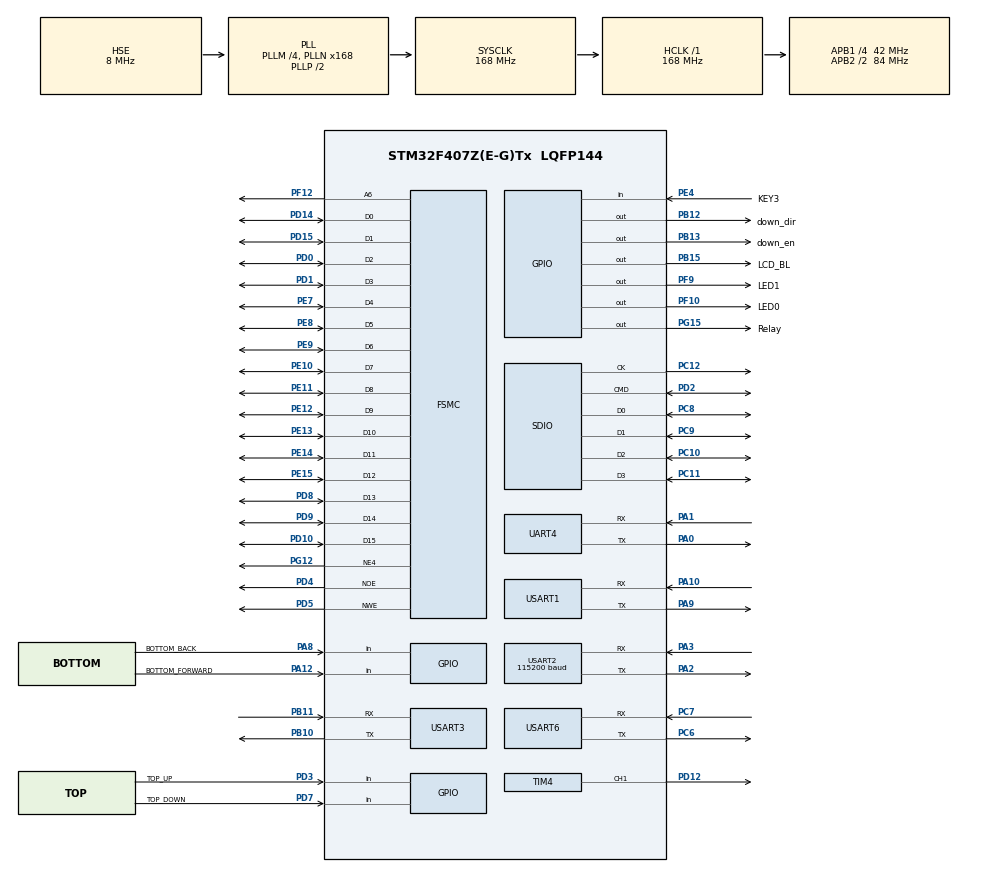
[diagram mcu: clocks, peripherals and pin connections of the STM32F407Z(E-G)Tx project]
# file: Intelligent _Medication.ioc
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Dma.Request0=SDIO_RX
Dma.Request1=USART6_RX
Dma.Request2=USART3_RX
Dma.Request3=USART2_RX
Dma.Request4=UART4_RX
Dma.Request5=SDIO_TX
Dma.SDIO_RX.0.Direction=DMA_PERIPH_TO_MEMORY
Dma.SDIO_RX.0.FIFOMode=DMA_FIFOMODE_ENABLE
Dma.SDIO_RX.0.FIFOThreshold=DMA_FIFO_THRESHOLD_FULL
Dma.SDIO_RX.0.Instance=DMA2_Stream3
Dma.SDIO_RX.0.MemBurst=DMA_MBURST_INC4
Dma.SDIO_RX.0.MemDataAlignment=DMA_MDATAALIGN_WORD
Dma.SDIO_RX.0.MemInc=DMA_MINC_ENABLE
Dma.SDIO_RX.0.Mode=DMA_PFCTRL
Dma.SDIO_RX.0.PeriphBurst=DMA_PBURST_INC4
Dma.SDIO_RX.0.PeriphDataAlignment=DMA_PDATAALIGN_WORD
Dma.SDIO_RX.0.PeriphInc=DMA_PINC_DISABLE
Dma.SDIO_RX.0.Priority=DMA_PRIORITY_LOW
Dma.SDIO_TX.5.Direction=DMA_MEMORY_TO_PERIPH
Dma.SDIO_TX.5.FIFOMode=DMA_FIFOMODE_ENABLE
Dma.SDIO_TX.5.FIFOThreshold=DMA_FIFO_THRESHOLD_FULL
Dma.SDIO_TX.5.Instance=DMA2_Stream6
Dma.SDIO_TX.5.MemBurst=DMA_MBURST_INC4
Dma.SDIO_TX.5.MemDataAlignment=DMA_MDATAALIGN_WORD
Dma.SDIO_TX.5.MemInc=DMA_MINC_ENABLE
Dma.SDIO_TX.5.Mode=DMA_PFCTRL
Dma.SDIO_TX.5.PeriphBurst=DMA_PBURST_INC4
Dma.SDIO_TX.5.PeriphDataAlignment=DMA_PDATAALIGN_WORD
Dma.SDIO_TX.5.PeriphInc=DMA_PINC_DISABLE
Dma.SDIO_TX.5.Priority=DMA_PRIORITY_LOW
Dma.UART4_RX.4.Direction=DMA_PERIPH_TO_MEMORY
Dma.UART4_RX.4.FIFOMode=DMA_FIFOMODE_DISABLE
Dma.UART4_RX.4.Instance=DMA1_Stream2
Dma.UART4_RX.4.MemDataAlignment=DMA_MDATAALIGN_BYTE
Dma.UART4_RX.4.MemInc=DMA_MINC_ENABLE
Dma.UART4_RX.4.Mode=DMA_NORMAL
Dma.UART4_RX.4.PeriphDataAlignment=DMA_PDATAALIGN_BYTE
Dma.UART4_RX.4.PeriphInc=DMA_PINC_DISABLE
Dma.UART4_RX.4.Priority=DMA_PRIORITY_LOW
Dma.USART2_RX.3.Direction=DMA_PERIPH_TO_MEMORY
Dma.USART2_RX.3.FIFOMode=DMA_FIFOMODE_DISABLE
Dma.USART2_RX.3.Instance=DMA1_Stream5
Dma.USART2_RX.3.MemDataAlignment=DMA_MDATAALIGN_BYTE
Dma.USART2_RX.3.MemInc=DMA_MINC_ENABLE
Dma.USART2_RX.3.Mode=DMA_NORMAL
Dma.USART2_RX.3.PeriphDataAlignment=DMA_PDATAALIGN_BYTE
Dma.USART2_RX.3.PeriphInc=DMA_PINC_DISABLE
Dma.USART2_RX.3.Priority=DMA_PRIORITY_HIGH
Dma.USART3_RX.2.Direction=DMA_PERIPH_TO_MEMORY
Dma.USART3_RX.2.FIFOMode=DMA_FIFOMODE_DISABLE
Dma.USART3_RX.2.Instance=DMA1_Stream1
Dma.USART3_RX.2.MemDataAlignment=DMA_MDATAALIGN_BYTE
Dma.USART3_RX.2.MemInc=DMA_MINC_ENABLE
Dma.USART3_RX.2.Mode=DMA_NORMAL
Dma.USART3_RX.2.PeriphDataAlignment=DMA_PDATAALIGN_BYTE
Dma.USART3_RX.2.PeriphInc=DMA_PINC_DISABLE
Dma.USART3_RX.2.Priority=DMA_PRIORITY_MEDIUM
Dma.USART6_RX.1.Direction=DMA_PERIPH_TO_MEMORY
Dma.USART6_RX.1.FIFOMode=DMA_FIFOMODE_DISABLE
Dma.USART6_RX.1.Instance=DMA2_Stream1
Dma.USART6_RX.1.MemDataAlignment=DMA_MDATAALIGN_BYTE
Dma.USART6_RX.1.MemInc=DMA_MINC_ENABLE
Dma.USART6_RX.1.Mode=DMA_NORMAL
Dma.USART6_RX.1.PeriphDataAlignment=DMA_PDATAALIGN_BYTE
Dma.USART6_RX.1.PeriphInc=DMA_PINC_DISABLE
Dma.USART6_RX.1.Priority=DMA_PRIORITY_LOW
FATFS._CODE_PAGE=850
FATFS._USE_LFN=0
FATFS._USE_MUTEX=0
FREERTOS.HEAP_NUMBER=4
FREERTOS.INCLUDE_eTaskGetState=1
FREERTOS.INCLUDE_pcTaskGetTaskName=0
FREERTOS.INCLUDE_uxTaskGetStackHighWaterMark=1
FREERTOS.INCLUDE_uxTaskGetStackHighWaterMark2=0
FREERTOS.INCLUDE_uxTaskPriorityGet=1
FREERTOS.INCLUDE_vTaskCleanUpResources=0
FREERTOS.INCLUDE_vTaskDelay=1
FREERTOS.INCLUDE_vTaskDelayUntil=1
FREERTOS.INCLUDE_vTaskDelete=1
FREERTOS.INCLUDE_vTaskPrioritySet=1
FREERTOS.INCLUDE_vTaskSuspend=1
FREERTOS.INCLUDE_xEventGroupSetBitFromISR=0
FREERTOS.INCLUDE_xQueueGetMutexHolder=1
FREERTOS.INCLUDE_xSemaphoreGetMutexHolder=0
FREERTOS.INCLUDE_xTaskAbortDelay=0
FREERTOS.INCLUDE_xTaskGetCurrentTaskHandle=1
FREERTOS.INCLUDE_xTaskGetHandle=0
FREERTOS.INCLUDE_xTaskGetSchedulerState=1
FREERTOS.INCLUDE_xTaskResumeFromISR=1
FREERTOS.INCLUDE_xTimerPendFunctionCall=1
FREERTOS.Tasks01=defaultTask,8,128,StartDefaultTask,Default,NULL,Dynamic,NULL,NULL
FREERTOS.configCHECK_FOR_STACK_OVERFLOW=0
FREERTOS.configENABLE_BACKWARD_COMPATIBILITY=1
FREERTOS.configENABLE_FPU=0
FREERTOS.configGENERATE_RUN_TIME_STATS=0
FREERTOS.configIDLE_SHOULD_YIELD=1
FREERTOS.configLIBRARY_LOWEST_INTERRUPT_PRIORITY=15
FREERTOS.configLIBRARY_MAX_SYSCALL_INTERRUPT_PRIORITY=5
FREERTOS.configMAX_CO_ROUTINE_PRIORITIES=2
FREERTOS.configMAX_TASK_NAME_LEN=16
FREERTOS.configMINIMAL_STACK_SIZE=128
FREERTOS.configQUEUE_REGISTRY_SIZE=8
FREERTOS.configRECORD_STACK_HIGH_ADDRESS=0
FREERTOS.configTICK_RATE_HZ=1000
FREERTOS.configTIMER_QUEUE_LENGTH=10
FREERTOS.configTIMER_TASK_PRIORITY=2
FREERTOS.configTIMER_TASK_STACK_DEPTH=256
FREERTOS.configTOTAL_HEAP_SIZE=15360
FREERTOS.configUSE_APPLICATION_TASK_TAG=0
FREERTOS.configUSE_COUNTING_SEMAPHORES=1
FREERTOS.configUSE_CO_ROUTINES=0
FREERTOS.configUSE_DAEMON_TASK_STARTUP_HOOK=0
FREERTOS.configUSE_IDLE_HOOK=0
FREERTOS.configUSE_MALLOC_FAILED_HOOK=0
FREERTOS.configUSE_MUTEXES=1
FREERTOS.configUSE_NEWLIB_REENTRANT=0
FREERTOS.configUSE_OS2_EVENTFLAGS_FROM_ISR=1
FREERTOS.configUSE_OS2_MUTEX=1
FREERTOS.configUSE_OS2_THREAD_ENUMERATE=1
FREERTOS.configUSE_OS2_THREAD_FLAGS=1
FREERTOS.configUSE_OS2_THREAD_SUSPEND_RESUME=1
FREERTOS.configUSE_OS2_TIMER=1
FREERTOS.configUSE_POSIX_ERRNO=0
FREERTOS.configUSE_PREEMPTION=1
FREERTOS.configUSE_RECURSIVE_MUTEXES=1
FREERTOS.configUSE_STATS_FORMATTING_FUNCTIONS=0
FREERTOS.configUSE_TASK_NOTIFICATIONS=1
FREERTOS.configUSE_TICKLESS_IDLE=0
FREERTOS.configUSE_TICK_HOOK=1
FREERTOS.configUSE_TRACE_FACILITY=1
FREERTOS.copyHeapFile=1
FSMC.AccessMode1=FSMC_ACCESS_MODE_A
FSMC.AddressSetupTime1=10
FSMC.BusTurnAroundDuration1=0
FSMC.DataSetupTime1=60
FSMC.ExtendedAccessMode1=FSMC_ACCESS_MODE_A
FSMC.ExtendedAddressSetupTime1=10
FSMC.ExtendedBusTurnAroundDuration1=0
FSMC.ExtendedDataSetupTime1=15
FSMC.ExtendedMode1=FSMC_EXTENDED_MODE_ENABLE
FSMC.NSBank1=FSMC_NORSRAM_BANK4
FSMC.WriteOperation1=FSMC_WRITE_OPERATION_ENABLE
Mcu.Family=STM32F4
Mcu.Name=STM32F407Z(E-G)Tx
Mcu.Package=LQFP144
NVIC.DMA1_Stream1_IRQn=true\:7\:0\:true\:false\:true\:true\:false\:true\:true
NVIC.DMA1_Stream2_IRQn=true\:6\:0\:true\:false\:true\:true\:false\:true\:true
NVIC.DMA1_Stream5_IRQn=true\:5\:0\:false\:false\:true\:true\:false\:true\:true
NVIC.DMA2_Stream1_IRQn=true\:5\:0\:false\:false\:true\:true\:false\:true\:true
NVIC.DMA2_Stream3_IRQn=true\:8\:0\:true\:false\:true\:true\:false\:true\:true
NVIC.DMA2_Stream6_IRQn=true\:5\:0\:false\:false\:true\:true\:false\:true\:true
NVIC.PriorityGroup=NVIC_PRIORITYGROUP_4
NVIC.SDIO_IRQn=true\:6\:0\:true\:false\:true\:true\:true\:true\:true
NVIC.TIM4_IRQn=true\:5\:0\:false\:false\:true\:true\:true\:true\:true
NVIC.TIM6_DAC_IRQn=true\:15\:0\:false\:false\:true\:false\:true\:true\:true
NVIC.TimeBase=TIM6_DAC_IRQn
NVIC.TimeBaseIP=TIM6
NVIC.UART4_IRQn=true\:9\:0\:true\:false\:true\:true\:true\:true\:true
NVIC.USART2_IRQn=true\:7\:0\:true\:false\:true\:true\:true\:true\:true
NVIC.USART3_IRQn=true\:5\:0\:false\:false\:true\:true\:true\:true\:true
NVIC.USART6_IRQn=true\:9\:0\:true\:false\:true\:true\:true\:true\:true
PA0-WKUP.Mode=Asynchronous
PA0-WKUP.Signal=UART4_TX
PA1.Mode=Asynchronous
PA1.Signal=UART4_RX
PA10.Mode=Asynchronous
PA10.Signal=USART1_RX
PA12.GPIO_Label=BOTTOM_FORWARD
PA12.GPIO_PuPd=GPIO_PULLUP
PA12.Signal=GPIO_Input
PA13.Mode=Serial_Wire
PA13.Signal=SYS_JTMS-SWDIO
PA14.Mode=Serial_Wire
PA14.Signal=SYS_JTCK-SWCLK
PA2.Mode=Asynchronous
PA2.Signal=USART2_TX
PA3.Mode=Asynchronous
PA3.Signal=USART2_RX
PA8.GPIO_Label=BOTTOM_BACK
PA8.GPIO_PuPd=GPIO_PULLUP
PA8.Signal=GPIO_Input
PA9.Mode=Asynchronous
PA9.Signal=USART1_TX
PB10.Mode=Asynchronous
PB10.Signal=USART3_TX
PB11.Mode=Asynchronous
PB11.Signal=USART3_RX
PB12.GPIO_Label=down_dir
PB12.GPIO_Speed=GPIO_SPEED_FREQ_HIGH
PB12.Signal=GPIO_Output
PB13.GPIO_Label=down_en
PB13.GPIO_Speed=GPIO_SPEED_FREQ_HIGH
PB13.PinState=GPIO_PIN_RESET
PB13.Signal=GPIO_Output
PB15.GPIO_Label=LCD_BL
PB15.GPIO_Speed=GPIO_SPEED_FREQ_VERY_HIGH
PB15.PinState=GPIO_PIN_SET
PB15.Signal=GPIO_Output
PC10.Mode=SD_4_bits_Wide_bus
PC10.Signal=SDIO_D2
PC11.Mode=SD_4_bits_Wide_bus
PC11.Signal=SDIO_D3
PC12.Mode=SD_4_bits_Wide_bus
PC12.Signal=SDIO_CK
PC14-OSC32_IN.Mode=LSE-External-Oscillator
PC14-OSC32_IN.Signal=RCC_OSC32_IN
PC15-OSC32_OUT.Mode=LSE-External-Oscillator
PC15-OSC32_OUT.Signal=RCC_OSC32_OUT
PC6.Mode=Asynchronous
PC6.Signal=USART6_TX
PC7.Mode=Asynchronous
PC7.Signal=USART6_RX
PC8.Mode=SD_4_bits_Wide_bus
PC8.Signal=SDIO_D0
PC9.Mode=SD_4_bits_Wide_bus
PC9.Signal=SDIO_D1
PD0.Signal=FSMC_D2_DA2
PD1.Signal=FSMC_D3_DA3
PD10.Signal=FSMC_D15_DA15
PD12.Signal=S_TIM4_CH1
PD14.Signal=FSMC_D0_DA0
PD15.Signal=FSMC_D1_DA1
PD2.Mode=SD_4_bits_Wide_bus
PD2.Signal=SDIO_CMD
PD3.GPIO_Label=TOP_UP
PD3.GPIO_PuPd=GPIO_PULLUP
PD3.Signal=GPIO_Input
PD4.Signal=FSMC_NOE
PD5.Signal=FSMC_NWE
PD7.GPIO_Label=TOP_DOWN
PD7.GPIO_PuPd=GPIO_PULLUP
PD7.Signal=GPIO_Input
PD8.Signal=FSMC_D13_DA13
PD9.Signal=FSMC_D14_DA14
PE10.Signal=FSMC_D7_DA7
PE11.Signal=FSMC_D8_DA8
PE12.Signal=FSMC_D9_DA9
PE13.Signal=FSMC_D10_DA10
PE14.Signal=FSMC_D11_DA11
PE15.Signal=FSMC_D12_DA12
PE4.GPIO_Label=KEY3
PE4.GPIO_PuPd=GPIO_PULLUP
PE4.Signal=GPIO_Input
PE7.Signal=FSMC_D4_DA4
PE8.Signal=FSMC_D5_DA5
PE9.Signal=FSMC_D6_DA6
PF10.GPIO_Label=LED0
PF10.GPIO_Speed=GPIO_SPEED_FREQ_HIGH
PF10.PinState=GPIO_PIN_SET
PF10.Signal=GPIO_Output
PF12.Signal=FSMC_A6
PF9.GPIO_Label=LED1
PF9.GPIO_Speed=GPIO_SPEED_FREQ_HIGH
PF9.PinState=GPIO_PIN_SET
PF9.Signal=GPIO_Output
PG12.Mode=NorPsramChipSelect4_1
PG12.Signal=FSMC_NE4
PG15.GPIO_Label=Relay
PG15.Signal=GPIO_Output
PH0-OSC_IN.Mode=HSE-External-Oscillator
PH0-OSC_IN.Signal=RCC_OSC_IN
PH1-OSC_OUT.Mode=HSE-External-Oscillator
PH1-OSC_OUT.Signal=RCC_OSC_OUT
ProjectManager.HeapSize=0x800
ProjectManager.StackSize=0x2200
ProjectManager.TargetToolchain=MDK-ARM V5.32
RCC.48MHZClocksFreq_Value=48000000
RCC.AHBFreq_Value=168000000
RCC.APB1CLKDivider=RCC_HCLK_DIV4
RCC.APB1Freq_Value=42000000
RCC.APB1TimFreq_Value=84000000
RCC.APB2CLKDivider=RCC_HCLK_DIV2
RCC.APB2Freq_Value=84000000
RCC.APB2TimFreq_Value=168000000
RCC.CortexFreq_Value=168000000
RCC.FLatency=FLASH_LATENCY_5
RCC.HCLKFreq_Value=168000000
RCC.HSE_VALUE=8000000
RCC.HSI_VALUE=16000000
RCC.PLLM=4
RCC.PLLN=168
RCC.PLLQ=7
RCC.PLLSourceVirtual=RCC_PLLSOURCE_HSE
RCC.RCC_RTC_Clock_Source=RCC_RTCCLKSOURCE_LSE
RCC.RCC_RTC_Clock_SourceVirtual=RCC_RTCCLKSOURCE_LSE
RCC.SYSCLKFreq_VALUE=168000000
RCC.SYSCLKSource=RCC_SYSCLKSOURCE_PLLCLK
RCC.VCOOutputFreq_Value=336000000
RTC.AsynchPrediv=127
RTC.Date=3
RTC.DayLightSaving=RTC_DAYLIGHTSAVING_NONE
RTC.Format=RTC_FORMAT_BIN
RTC.HourFormat=RTC_HOURFORMAT_24
RTC.Hours=18
RTC.Minutes=20
RTC.Month=RTC_MONTH_MARCH
RTC.Seconds=0
RTC.StoreOperation=RTC_STOREOPERATION_RESET
RTC.SynchPrediv=255
RTC.WeekDay=RTC_WEEKDAY_MONDAY
RTC.Year=25
SDIO.ClockDiv=4
SH.FSMC_A6.0=FSMC_A6,A6_1
SH.FSMC_D0_DA0.0=FSMC_D0,16b-d1
SH.FSMC_D10_DA10.0=FSMC_D10,16b-d1
SH.FSMC_D11_DA11.0=FSMC_D11,16b-d1
SH.FSMC_D12_DA12.0=FSMC_D12,16b-d1
SH.FSMC_D13_DA13.0=FSMC_D13,16b-d1
SH.FSMC_D14_DA14.0=FSMC_D14,16b-d1
SH.FSMC_D15_DA15.0=FSMC_D15,16b-d1
SH.FSMC_D1_DA1.0=FSMC_D1,16b-d1
SH.FSMC_D2_DA2.0=FSMC_D2,16b-d1
SH.FSMC_D3_DA3.0=FSMC_D3,16b-d1
SH.FSMC_D4_DA4.0=FSMC_D4,16b-d1
SH.FSMC_D5_DA5.0=FSMC_D5,16b-d1
SH.FSMC_D6_DA6.0=FSMC_D6,16b-d1
SH.FSMC_D7_DA7.0=FSMC_D7,16b-d1
SH.FSMC_D8_DA8.0=FSMC_D8,16b-d1
SH.FSMC_D9_DA9.0=FSMC_D9,16b-d1
SH.FSMC_NOE.0=FSMC_NOE,Lcd1
SH.FSMC_NWE.0=FSMC_NWE,Lcd1
SH.S_TIM4_CH1.0=TIM4_CH1,PWM Generation1 CH1
TIM4.Channel-PWM\ Generation1\ CH1=TIM_CHANNEL_1
TIM4.Period=1000-1
TIM4.Prescaler=168-1
UART4.VirtualMode=Asynchronous
USART1.VirtualMode=VM_ASYNC
USART2.BaudRate=115200
USART2.Mode=MODE_TX_RX
USART2.OverSampling=UART_OVERSAMPLING_16
USART2.Parity=PARITY_NONE
USART2.StopBits=STOPBITS_1
USART2.VirtualMode=VM_ASYNC
USART2.WordLength=WORDLENGTH_8B
USART3.VirtualMode=VM_ASYNC
USART6.VirtualMode=VM_ASYNC
VP_FATFS_VS_SDIO.Mode=SDIO
VP_FREERTOS_VS_CMSIS_V2.Mode=CMSIS_V2
VP_RTC_VS_RTC_Activate.Mode=RTC_Enabled
VP_RTC_VS_RTC_Calendar.Mode=RTC_Calendar
VP_SYS_VS_tim6.Mode=TIM6
VP_TIM4_VS_ClockSourceINT.Mode=Internal
board=custom

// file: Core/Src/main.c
/* USER CODE BEGIN Header */
/**
 ******************************************************************************
 * @file           : main.c
 * @brief          : Main program body
 ******************************************************************************
 * @attention
 *
 * Copyright (c) 2025 STMicroelectronics.
 * All rights reserved.
 *
 * This software is licensed under terms that can be found in the LICENSE file
 * in the root directory of this software component.
 * If no LICENSE file comes with this software, it is provided AS-IS.
 *
 ******************************************************************************
 */
/* USER CODE END Header */
#include "main.h"
#include "cmsis_os.h"
#include "dma.h"
#include "fatfs.h"
#include "rtc.h"
#include "sdio.h"
#include "tim.h"
#include "usart.h"
#include "gpio.h"
#include "fsmc.h"

/* USER CODE BEGIN Includes */
#include "bsp_system.h"
/* USER CODE END Includes */

/* USER CODE BEGIN PV */
FATFS my_fs;
FRESULT res;
uint8_t temp,humi;
/* USER CODE END PV */

void SystemClock_Config(void);
void MX_FREERTOS_Init(void);

int main(void)
{

  /* MCU Configuration--------------------------------------------------------*/

  /* Reset of all peripherals, Initializes the Flash interface and the Systick. */
  HAL_Init();

  /* Configure the system clock */
  SystemClock_Config();

  /* Initialize all configured peripherals */
  MX_GPIO_Init();
  MX_DMA_Init();
  MX_FSMC_Init();
  MX_RTC_Init();
  MX_USART2_UART_Init();
  MX_UART4_Init();
  MX_USART1_UART_Init();
  MX_USART3_UART_Init();
  MX_SDIO_SD_Init();
  MX_USART6_UART_Init();
  MX_FATFS_Init();
  MX_TIM4_Init();
  /* USER CODE BEGIN 2 */
  IIC_init();
	dht11_init();
	for (int i = 0; i < 3; i++)
	{
			user_messages[i].send_flag[0] = 0;
			user_messages[i].send_flag[1] = 0;
			user_messages[i].send_flag[2] = 0;
			for (int j = 0; j < 3; j++)
			{
					user_messages[i].Time[j][0] = 0;
					user_messages[i].Time[j][1] = 0;
					for (int k = 0; k < 6; k++)
					{
							user_messages[i].medicine[j][k] = 0;
					}
			}
	}

  motor_init();

	HAL_UARTEx_ReceiveToIdle_DMA(&huart3, (uint8_t *)esp8266_buf, 299);
	__HAL_DMA_DISABLE_IT(&hdma_usart3_rx, DMA_IT_HT);

	HAL_UARTEx_ReceiveToIdle_DMA(&huart2, uart_buffer_2, 49);
  __HAL_DMA_DISABLE_IT(&hdma_usart2_rx, DMA_IT_HT);

  HAL_UARTEx_ReceiveToIdle_DMA(&huart6, uart_buffer_6, 19);
  __HAL_DMA_DISABLE_IT(&hdma_usart6_rx, DMA_IT_HT);

	HAL_UARTEx_ReceiveToIdle_DMA(&huart4, uart_buffer_4, 10);
  __HAL_DMA_DISABLE_IT(&hdma_uart4_rx, DMA_IT_HT);

  TIM4->CCR1 = 0;
  HAL_TIM_PWM_Start_IT(&htim4, TIM_CHANNEL_1);

  /* USER CODE END 2 */

  /* Init scheduler */
  osKernelInitialize();

  /* Call init function for freertos objects (in cmsis_os2.c) */
  MX_FREERTOS_Init();

  /* Start scheduler */
  osKernelStart();

  /* We should never get here as control is now taken by the scheduler */

  /* Infinite loop */
  while (1)
  {

  }
}

void SystemClock_Config(void)
{
  RCC_OscInitTypeDef RCC_OscInitStruct = {0};
  RCC_ClkInitTypeDef RCC_ClkInitStruct = {0};

  /** Configure the main internal regulator output voltage
  */
  __HAL_RCC_PWR_CLK_ENABLE();
  __HAL_PWR_VOLTAGESCALING_CONFIG(PWR_REGULATOR_VOLTAGE_SCALE1);

  /** Initializes the RCC Oscillators according to the specified parameters
  * in the RCC_OscInitTypeDef structure.
  */
  RCC_OscInitStruct.OscillatorType = RCC_OSCILLATORTYPE_HSE|RCC_OSCILLATORTYPE_LSE;
  RCC_OscInitStruct.HSEState = RCC_HSE_ON;
  RCC_OscInitStruct.LSEState = RCC_LSE_ON;
  RCC_OscInitStruct.PLL.PLLState = RCC_PLL_ON;
  RCC_OscInitStruct.PLL.PLLSource = RCC_PLLSOURCE_HSE;
  RCC_OscInitStruct.PLL.PLLM = 4;
  RCC_OscInitStruct.PLL.PLLN = 168;
  RCC_OscInitStruct.PLL.PLLP = RCC_PLLP_DIV2;
  RCC_OscInitStruct.PLL.PLLQ = 7;
  if (HAL_RCC_OscConfig(&RCC_OscInitStruct) != HAL_OK)
  {
    Error_Handler();
  }

  /** Initializes the CPU, AHB and APB buses clocks
  */
  RCC_ClkInitStruct.ClockType = RCC_CLOCKTYPE_HCLK|RCC_CLOCKTYPE_SYSCLK
                              |RCC_CLOCKTYPE_PCLK1|RCC_CLOCKTYPE_PCLK2;
  RCC_ClkInitStruct.SYSCLKSource = RCC_SYSCLKSOURCE_PLLCLK;
  RCC_ClkInitStruct.AHBCLKDivider = RCC_SYSCLK_DIV1;
  RCC_ClkInitStruct.APB1CLKDivider = RCC_HCLK_DIV4;
  RCC_ClkInitStruct.APB2CLKDivider = RCC_HCLK_DIV2;

  if (HAL_RCC_ClockConfig(&RCC_ClkInitStruct, FLASH_LATENCY_5) != HAL_OK)
  {
    Error_Handler();
  }
}

void HAL_TIM_PeriodElapsedCallback(TIM_HandleTypeDef *htim)
{
  if (htim->Instance == TIM6)
  {
    HAL_IncTick();
  }
}

void Error_Handler(void)
{
  __disable_irq();
  while (1)
  {
  }
}

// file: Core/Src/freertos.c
/* USER CODE BEGIN Header */
/**
 ******************************************************************************
 * File Name          : freertos.c
 * Description        : Code for freertos applications
 ******************************************************************************
 * @attention
 *
 * Copyright (c) 2025 STMicroelectronics.
 * All rights reserved.
 *
 * This software is licensed under terms that can be found in the LICENSE file
 * in the root directory of this software component.
 * If no LICENSE file comes with this software, it is provided AS-IS.
 *
 ******************************************************************************
 */
/* USER CODE END Header */

#include "FreeRTOS.h"
#include "task.h"
#include "main.h"
#include "cmsis_os.h"

/* USER CODE BEGIN Includes */
#include "bsp_system.h"
/* USER CODE END Includes */

/* USER CODE BEGIN PTD */

RTC_DateTypeDef GetData;
RTC_TimeTypeDef GetTime;
SemaphoreHandle_t lvgl_semphr;
/* USER CODE END PTD */

/* Definitions for defaultTask */
osThreadId_t defaultTaskHandle;
const osThreadAttr_t defaultTask_attributes = {
  .name = "defaultTask",
  .stack_size = 128 * 4,
  .priority = (osPriority_t) osPriorityLow,
};

void StartDefaultTask(void *argument);

void MX_FREERTOS_Init(void); /* (MISRA C 2004 rule 8.1) */

/* Hook prototypes */
void vApplicationTickHook(void);

/* USER CODE BEGIN 3 */
void vApplicationTickHook(void)
{
  lv_tick_inc(1);
  /* This function will be called by each tick interrupt if
  configUSE_TICK_HOOK is set to 1 in FreeRTOSConfig.h. User code can be
  added here, but the tick hook is called from an interrupt context, so
  code must not attempt to block, and only the interrupt safe FreeRTOS API
  functions can be used (those that end in FromISR()). */
}
/* USER CODE END 3 */

void MX_FREERTOS_Init(void) {
  /* USER CODE BEGIN Init */
	//ESP8266_Init();
  all_task_init();
	memset(uart_buffer_2,0,sizeof(uart_buffer_2));
	memset(uart_buffer_6,0,sizeof(uart_buffer_6));
	memset(esp8266_buf,0,sizeof(esp8266_buf));
  /* USER CODE END Init */

  /* USER CODE BEGIN RTOS_MUTEX */
  lvgl_semphr = xSemaphoreCreateMutex();   	// lvgl互斥锁
  motor_semphr = xSemaphoreCreateBinary(); 	// 电机任务二值信号量
	uart_semphr = xSemaphoreCreateBinary(); 	// 串口任务二值信号量
	check_semphr = xSemaphoreCreateBinary();  // 检测任务二值信号量
  /* add mutexes, ... */
  /* USER CODE END RTOS_MUTEX */

  /* Create the thread(s) */
  /* creation of defaultTask */
  defaultTaskHandle = osThreadNew(StartDefaultTask, NULL, &defaultTask_attributes);

}

void StartDefaultTask(void *argument)
{
  /* USER CODE BEGIN StartDefaultTask */
	res = f_mount(&my_fs,"0",1);
	if(res != FR_OK)
		printf("FS ERROR!-%d\r\n",res);
	else
		printf("success!\r\n");

  while (1)
  {
    HAL_GPIO_TogglePin(LED1_GPIO_Port, LED1_Pin);
		dht11_read_data(&temp,&humi);
		if(login_flag == 0)		//屏幕登录WIFI中先不上发避免干扰
		{
			ESP8266_UPDataNum(esp8266_Data,ESP8266_Send1,"Humi",humi);
			ESP8266_UPDataNum(esp8266_Data,ESP8266_Send1,"Temp",temp);
		}

    xSemaphoreTake(lvgl_semphr, portMAX_DELAY);
		lv_label_set_text_fmt(ui_Temp,"当前温度：%d℃",temp);
		lv_label_set_text_fmt(ui_Humidity, "当前湿度：%d％",humi);

		xSemaphoreGive(lvgl_semphr);
    vTaskDelay(5000);
  }
  /* USER CODE END StartDefaultTask */
}
